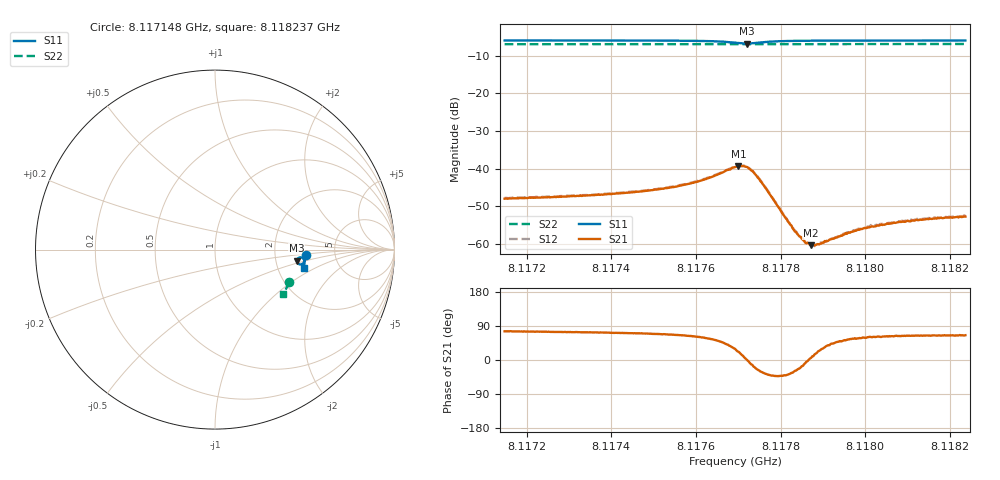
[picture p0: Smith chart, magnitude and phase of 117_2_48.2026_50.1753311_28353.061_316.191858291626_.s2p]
#  HZ  S  RI  R  50.00
! Rohde & Schwarz Vector Network Analyzer
! Rohde-Schwarz,ZNB20-2Port,1311601062101988,3.16
! Created: UTC 3/20/2024, 11:41:14 AM
! freq[Hz]  re:S11  im:S11  re:S21  im:S21  re:S12  im:S12  re:S22  im:S22
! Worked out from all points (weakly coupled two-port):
!   401 points, 8.117148 GHz to 8.118237 GHz, reference 50 ohm
!   highest |S21| = -39.36 dB at 8.117701 GHz (marker M1); lowest = -60.5 dB at 8.117872 GHz (marker M2)
!   lowest |S11| = -6.7 dB at 8.11772 GHz (marker M3), VSWR 2.70, Z = 132 - j20.3 ohm
!   |S11| at or under -10 dB: nowhere
!   |S22| runs from -6.9 to -6.9 dB; largest |S21 - S12| = 0.00036
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8.1171482e9  0.5052 -0.0286  0.000982 0.00385  0.00107 0.00394  0.414 -0.1793
8.1173305e9  0.5035 -0.0437  0.00125 0.00413  0.00131 0.00423  0.4093 -0.191
8.1174339e9  0.5019 -0.0531  0.00153 0.0045  0.00162 0.00458  0.4064 -0.1978
8.1175128e9  0.4999 -0.0613  0.00194 0.00495  0.00203 0.00506  0.4041 -0.2029
8.1175699e9  0.497 -0.0682  0.00256 0.00545  0.00265 0.00553  0.4022 -0.2067
8.117608e9  0.4934 -0.0739  0.00332 0.00595  0.00347 0.00601  0.4008 -0.2092
8.1176924e9  0.4655 -0.0798  0.0091 0.00512  0.00934 0.00504  0.3971 -0.2142
8.1177006e9  0.4609 -0.076  0.00999 0.00399  0.0102 0.00394  0.3969 -0.2143
8.1177196e9  0.4561 -0.0607  0.0105 0.0003  0.0107 0.000126  0.3962 -0.2148
8.1177359e9  0.4626 -0.0484  0.00859 -0.00264  0.00863 -0.00258  0.3962 -0.2152
8.1177523e9  0.4735 -0.0432  0.00588 -0.00344  0.00607 -0.00353  0.3961 -0.2162
8.1178176e9  0.4949 -0.055  0.00154 -0.00123  0.00155 -0.00126  0.3952 -0.2209
8.1178366e9  0.4965 -0.0587  0.00127 -0.000669  0.00129 -0.000675  0.3947 -0.222
8.1178584e9  0.4976 -0.0625  0.00103 -0.000151  0.00103 -0.000171  0.3939 -0.2235
8.117872e9  0.498 -0.0647  0.000944 9.29e-05  0.00101 0.000106  0.3934 -0.2244
8.1178747e9  0.498 -0.0652  0.000936 0.000156  0.000974 0.000144  0.3933 -0.2246
8.1178856e9  0.4983 -0.0668  0.000927 0.000312  0.000918 0.000324  0.393 -0.2252
8.1179781e9  0.4984 -0.0776  0.000836 0.00123  0.00084 0.00127  0.39 -0.2313
8.1180081e9  0.4981 -0.0807  0.000813 0.00143  0.000867 0.00145  0.389 -0.2333
8.1180571e9  0.4975 -0.0851  0.000833 0.00164  0.000878 0.00168  0.3874 -0.2363
8.1181469e9  0.4963 -0.093  0.000917 0.00193  0.000934 0.00193  0.3843 -0.2416
8.1182367e9  0.495 -0.1003  0.000957 0.00209  0.001 0.00211  0.381 -0.2472
